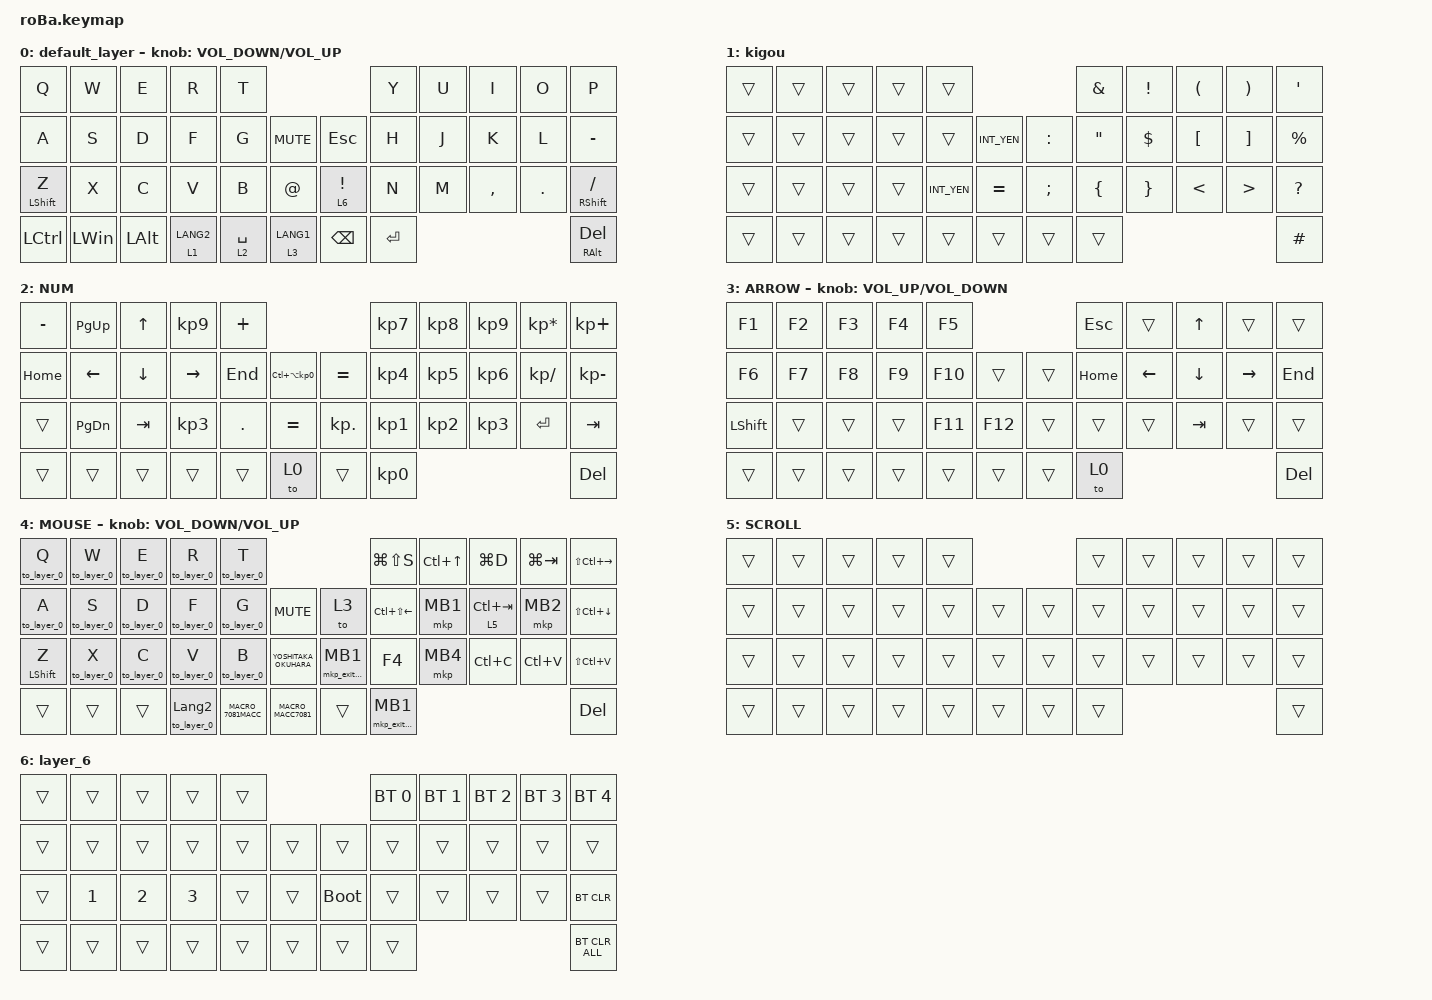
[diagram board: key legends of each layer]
#include <behaviors.dtsi>
#include <dt-bindings/zmk/bt.h>
#include <dt-bindings/zmk/keys.h>
#include <dt-bindings/zmk/pointing.h>

&mt {
    flavor = "balanced";
    quick-tap-ms = <0>;
};

&trackball {
    automouse-layer = <4>;
    scroll-layers = <5>;

    // arrows {
    //     layers = <3>;
    //     bindings =
    //         <&kp RIGHT_ARROW>,
    //         <&kp LEFT_ARROW>,
    //         <&kp UP_ARROW>,
    //         <&kp DOWN_ARROW>;
    //     tick = <10>;
    //     wait-ms = <5>;
    //     tap-ms = <5>;
    // };
};

/ {
    combos {
        compatible = "zmk,combos";

        tab {
            bindings = <&kp TAB>;
            key-positions = <11 12>;
        };

        shift_tab {
            bindings = <&kp LS(TAB)>;
            key-positions = <12 13>;
        };

        muhennkann {
            bindings = <&to_layer_0 ESCAPE>;
            key-positions = <0 1>;
        };

        double_quotation {
            bindings = <&kp DOUBLE_QUOTES>;
            key-positions = <20 21>;
        };

        eq {
            bindings = <&kp EQUAL>;
            key-positions = <24 25>;
        };
    };

    macros {
        to_layer_0: to_layer_0 {
            compatible = "zmk,behavior-macro-one-param";
            #binding-cells = <1>;
            bindings = <&to 0 &macro_param_1to1 &kp MACRO_PLACEHOLDER>;
            label = "TO_LAYER_0";
        };

        mkp_exit_AML: mkp_exit_AML {
            compatible = "zmk,behavior-macro-one-param";
            #binding-cells = <1>;
            bindings =
                <&macro_press>,
                <&macro_param_1to1 &mkp MACRO_PLACEHOLDER>,
                <&macro_pause_for_release>,
                <&macro_release>,
                <&macro_param_1to1 &mkp MACRO_PLACEHOLDER>,
                <&macro_tap>,
                <&sl 4>;

            label = "MKP_EXIT_AML";
        };

        mkp_exit_AMLnotime: mkp_exit_AMLnotime {
            compatible = "zmk,behavior-macro-one-param";
            #binding-cells = <1>;
            tap-ms = <10>;
            wait-ms = <10>;
            bindings =
                <&macro_tap>,
                <&macro_param_1to1 &mkp MACRO_PLACEHOLDER &to 0>;

            // 2. 確実にレイヤー0へ移動

            label = "MKP_EXIT_AMLnotime";
        };

        mkp_exit_AMLnotime2: mkp_exit_AMLnotime2 {
            compatible = "zmk,behavior-macro-one-param";
            #binding-cells = <1>;
            tap-ms = <10>;
            wait-ms = <10>;
            bindings =
                <&macro_tap>,
                <&macro_param_1to1 &mkp MACRO_PLACEHOLDER &to 2>;

            // 2. 確実にレイヤー2へ移動

            label = "MKP_EXIT_AMLnotime2";
        };

        YOSHITAKA_OKUHARA: yoshitaka_okuhara {
            compatible = "zmk,behavior-macro";
            #binding-cells = <0>;
            bindings = <&kp Y &kp O &kp S &kp H &kp I &kp T &kp A &kp K &kp A &kp UNDERSCORE &kp O &kp K &kp U &kp H &kp A &kp R &kp A>;
        };

        MACRO_7081MACC: macro_7081macc {
            compatible = "zmk,behavior-macro";
            #binding-cells = <0>;
            bindings = <&kp N7 &kp N0 &kp N8 &kp N1 &kp M &kp A &kp C &kp C>;
        };

        MACRO_MACC7081: macro_macc7081 {
            compatible = "zmk,behavior-macro";
            #binding-cells = <0>;
            bindings = <&kp M &kp A &kp C &kp C &kp N7 &kp N0 &kp N8 &kp N1>;
        };
    };

    behaviors {
        lt_to_layer_0: lt_to_layer_0 {
            compatible = "zmk,behavior-hold-tap";
            label = "LAYER_TAP_TO_0";
            bindings = <&mo>, <&to_layer_0>;

            #binding-cells = <2>;
            tapping-term-ms = <200>;
        };
    };

    keymap {
        compatible = "zmk,keymap";

        default_layer {
            bindings = <
&kp Q             &kp W         &kp E         &kp R        &kp T                                            &kp Y      &kp U  &kp I      &kp O       &kp P
&kp A             &kp S         &kp D         &kp F        &kp G        &kp C_MUTE       &kp ESCAPE         &kp H      &kp J  &kp K      &kp L       &kp MINUS
&mt LEFT_SHIFT Z  &kp X         &kp C         &kp V        &kp B        &kp AT_SIGN      &lt 6 EXCLAMATION  &kp N      &kp M  &kp COMMA  &kp PERIOD  &mt RIGHT_SHIFT SLASH
&kp LCTRL         &kp LEFT_WIN  &kp LEFT_ALT  &lt 1 LANG2  &lt 2 SPACE  &lt 3 LANG1      &kp BACKSPACE      &kp ENTER                                &mt RIGHT_ALT DELETE
            >;

            sensor-bindings = <&inc_dec_kp C_VOLUME_DOWN C_VOLUME_UP>;
        };

        kigou {
            bindings = <
&trans  &trans  &trans  &trans  &trans                                       &kp AMPERSAND      &kp EXCLAMATION  &kp LEFT_PARENTHESIS  &kp RIGHT_PARENTHESIS  &kp SQT
&trans  &trans  &trans  &trans  &trans       &kp INT_YEN      &kp COLON      &kp DOUBLE_QUOTES  &kp DOLLAR       &kp LEFT_BRACKET      &kp RIGHT_BRACKET      &kp PERCENT
&trans  &trans  &trans  &trans  &kp INT_YEN  &kp EQUAL        &kp SEMICOLON  &kp LEFT_BRACE     &kp RIGHT_BRACE  &kp LESS_THAN         &kp GREATER_THAN       &kp QUESTION
&trans  &trans  &trans  &trans  &trans       &trans           &trans         &trans                                                                           &kp HASH
            >;
        };

        NUM {
            bindings = <
&kp MINUS  &kp PG_UP      &kp UP_ARROW  &kp KP_NUMBER_9  &kp PLUS                                             &kp KP_N7        &kp KP_N8  &kp KP_N9  &kp KP_MULTIPLY  &kp KP_PLUS
&kp HOME   &kp LEFT       &kp DOWN      &kp RIGHT        &kp END     &kp LC(LA(KP_NUMBER_0))      &kp EQUAL   &kp KP_N4        &kp KP_N5  &kp KP_N6  &kp KP_SLASH     &kp KP_MINUS
&trans     &kp PAGE_DOWN  &kp TAB       &kp KP_NUMBER_3  &kp PERIOD  &kp EQUAL                    &kp KP_DOT  &kp KP_N1        &kp KP_N2  &kp KP_N3  &kp ENTER        &kp TAB
&trans     &trans         &trans        &trans           &trans      &to 0                        &trans      &kp KP_NUMBER_0                                         &kp DEL
            >;
        };

        ARROW {
            bindings = <
&kp F1          &kp F2  &kp F3  &kp F4  &kp F5                        &kp ESCAPE  &trans    &kp UP_ARROW  &trans     &trans
&kp F6          &kp F7  &kp F8  &kp F9  &kp F10  &trans       &trans  &kp HOME    &kp LEFT  &kp DOWN      &kp RIGHT  &kp END
&kp LEFT_SHIFT  &trans  &trans  &trans  &kp F11  &kp F12      &trans  &trans      &trans    &kp TAB       &trans     &trans
&trans          &trans  &trans  &trans  &trans   &trans       &trans  &to 0                                          &kp DEL
            >;

            sensor-bindings = <&inc_dec_kp C_VOLUME_UP C_VOLUME_DOWN>;
        };

        MOUSE {
            bindings = <
&to_layer_0 Q     &to_layer_0 W  &to_layer_0 E  &to_layer_0 R           &to_layer_0 T                                                      &kp LG(LS(S))            &kp LC(UP_ARROW)  &kp LG(D)      &kp LG(TAB)  &kp LS(LC(RIGHT))
&to_layer_0 A     &to_layer_0 S  &to_layer_0 D  &to_layer_0 F           &to_layer_0 G    &kp C_MUTE              &to 3                     &kp LC(LS(LEFT))         &mkp MB1          &lt 5 LC(TAB)  &mkp MB2     &kp LS(LC(DOWN_ARROW))
&mt LEFT_SHIFT Z  &to_layer_0 X  &to_layer_0 C  &to_layer_0 V           &to_layer_0 B    &YOSHITAKA_OKUHARA      &mkp_exit_AMLnotime2 MB1  &kp F4                   &mkp MB4          &kp LC(C)      &kp LC(V)    &kp LS(LC(V))
&trans            &trans         &trans         &to_layer_0 LANGUAGE_2  &MACRO_7081MACC  &MACRO_MACC7081         &trans                    &mkp_exit_AMLnotime MB1                                                &kp DELETE
            >;

            sensor-bindings = <&inc_dec_kp C_VOLUME_DOWN C_VOLUME_UP>;
        };

        SCROLL {
            bindings = <
&trans  &trans  &trans  &trans  &trans                      &trans  &trans  &trans  &trans  &trans
&trans  &trans  &trans  &trans  &trans  &trans      &trans  &trans  &trans  &trans  &trans  &trans
&trans  &trans  &trans  &trans  &trans  &trans      &trans  &trans  &trans  &trans  &trans  &trans
&trans  &trans  &trans  &trans  &trans  &trans      &trans  &trans                          &trans
            >;
        };

        layer_6 {
            bindings = <
&trans  &trans        &trans        &trans        &trans                           &bt BT_SEL 0  &bt BT_SEL 1  &bt BT_SEL 2  &bt BT_SEL 3  &bt BT_SEL 4
&trans  &trans        &trans        &trans        &trans  &trans      &trans       &trans        &trans        &trans        &trans        &trans
&trans  &kp NUMBER_1  &kp NUMBER_2  &kp NUMBER_3  &trans  &trans      &bootloader  &trans        &trans        &trans        &trans        &bt BT_CLR
&trans  &trans        &trans        &trans        &trans  &trans      &trans       &trans                                                  &bt BT_CLR_ALL
            >;
        };
    };
};
